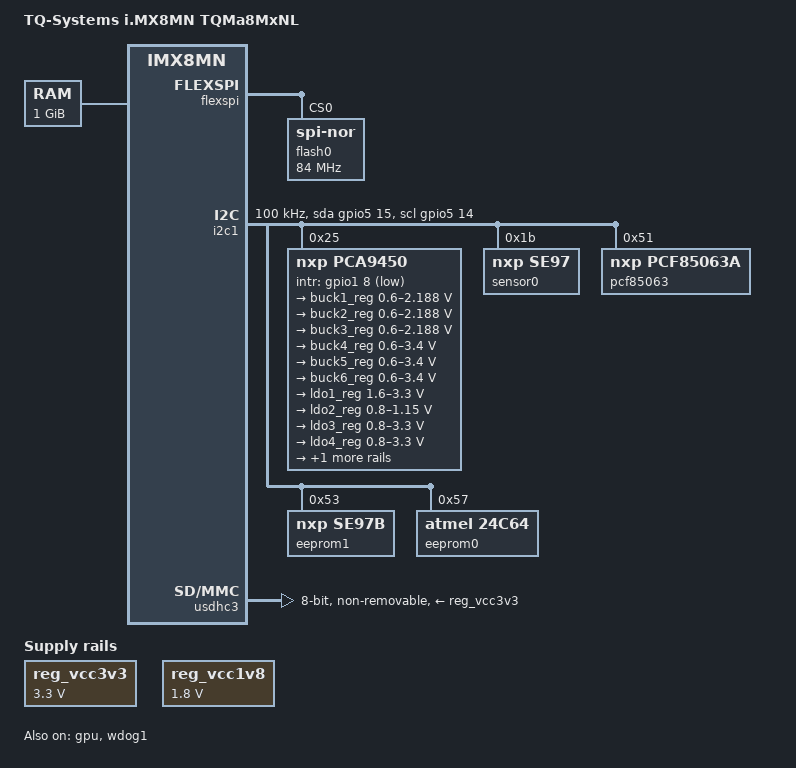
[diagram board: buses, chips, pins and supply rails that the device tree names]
// SPDX-License-Identifier: (GPL-2.0-or-later OR MIT)
/*
 * Copyright 2020-2021 TQ-Systems GmbH
 */

/ {
	model = "TQ-Systems i.MX8MN TQMa8MxNL";
	compatible = "tq,imx8mn-tqma8mxnl", "fsl,imx8mn";

	chosen {
	};

	memory@40000000 {
		device_type = "memory";
		/*  our minimum RAM config will be 1024 MiB */
		reg = <0x00000000 0x40000000 0 0x40000000>;
	};

	reg_vcc3v3: regulator-vcc3v3 {
		compatible = "regulator-fixed";
		regulator-name = "TQMA8MXNL_VCC3V3";
		regulator-min-microvolt = <3300000>;
		regulator-max-microvolt = <3300000>;
		regulator-always-on;
	};

	/* e-MMC IO, needed for HS modes */
	reg_vcc1v8: regulator-vcc1v8 {
		compatible = "regulator-fixed";
		regulator-name = "TQMA8MXNL_VCC1V8";
		regulator-min-microvolt = <1800000>;
		regulator-max-microvolt = <1800000>;
		regulator-always-on;
	};

	reserved-memory {
		#address-cells = <2>;
		#size-cells = <2>;
		ranges;

		/* global autoconfigured region for contiguous allocations */
		linux,cma {
			compatible = "shared-dma-pool";
			reusable;
			/* 640 MiB */
			size = <0 0x28000000>;
			/*  1024 - 128 MiB, our minimum RAM config will be 1024 MiB */
			alloc-ranges = <0 0x40000000 0 0x78000000>;
			linux,cma-default;
		};
	};
};

&A53_0 {
	cpu-supply = <&buck2_reg>;
};

&A53_1 {
	cpu-supply = <&buck2_reg>;
};

&A53_2 {
	cpu-supply = <&buck2_reg>;
};

&A53_3 {
	cpu-supply = <&buck2_reg>;
};

&gpu {
	status = "okay";
};

/*
 * TODO:
 * improve SPI clock
 */
&flexspi {
	pinctrl-names = "default";
	pinctrl-0 = <&pinctrl_flexspi>;
/* TODO: */
/*	fsl,qspi-no-dtr-modes; */
	status = "okay";

	flash0: flash@0 {
		reg = <0>;
		#address-cells = <1>;
		#size-cells = <1>;
		compatible = "jedec,spi-nor";
		spi-max-frequency = <84000000>;
		spi-tx-bus-width = <4>;
		spi-rx-bus-width = <4>;
		/* TODO: not used in spi-nor / fsl-qspi but in fsl-flexspi */
/*		spi-nor,ddr-quad-read-dummy = <8>; */
		spi-nor,ddr-quad-read-dummy = <6>;
		/* used for macronix flash only */
		macronix,dsr = <0x3>;
	};
};

&iomuxc {
	pinctrl_flexspi: flexspigrp {
		fsl,pins = <
			MX8MN_IOMUXC_NAND_ALE_QSPI_A_SCLK	0x84
			MX8MN_IOMUXC_NAND_CE0_B_QSPI_A_SS0_B	0x84
			MX8MN_IOMUXC_NAND_DATA00_QSPI_A_DATA0	0x84
			MX8MN_IOMUXC_NAND_DATA01_QSPI_A_DATA1	0x84
			MX8MN_IOMUXC_NAND_DATA02_QSPI_A_DATA2	0x84
			MX8MN_IOMUXC_NAND_DATA03_QSPI_A_DATA3	0x84
		>;
	};

	pinctrl_i2c1: i2c1grp {
		fsl,pins = <
			MX8MN_IOMUXC_I2C1_SCL_I2C1_SCL		0x40000090
			MX8MN_IOMUXC_I2C1_SDA_I2C1_SDA		0x40000090
		>;
	};

	pinctrl_i2c1_gpio: i2c1gpiogrp {
		fsl,pins = <
			MX8MN_IOMUXC_I2C1_SCL_GPIO5_IO14	0x40000004
			MX8MN_IOMUXC_I2C1_SDA_GPIO5_IO15	0x40000004
		>;
	};
	pinctrl_pmic: pmicgrp {
		fsl,pins = <
			MX8MN_IOMUXC_GPIO1_IO08_GPIO1_IO8	0x84
		>;
	};

	pinctrl_usdhc3: usdhc3grp {
		fsl,pins = <
			MX8MN_IOMUXC_NAND_WE_B_USDHC3_CLK		0x1d4
			MX8MN_IOMUXC_NAND_WP_B_USDHC3_CMD		0x1d4
			MX8MN_IOMUXC_NAND_DATA04_USDHC3_DATA0		0x1d4
			MX8MN_IOMUXC_NAND_DATA05_USDHC3_DATA1		0x1d4
			MX8MN_IOMUXC_NAND_DATA06_USDHC3_DATA2		0x1d4
			MX8MN_IOMUXC_NAND_DATA07_USDHC3_DATA3		0x1d4
			MX8MN_IOMUXC_NAND_RE_B_USDHC3_DATA4		0x1d4
			MX8MN_IOMUXC_NAND_CE2_B_USDHC3_DATA5		0x1d4
			MX8MN_IOMUXC_NAND_CE3_B_USDHC3_DATA6		0x1d4
			MX8MN_IOMUXC_NAND_CLE_USDHC3_DATA7		0x1d4
			MX8MN_IOMUXC_NAND_CE1_B_USDHC3_STROBE		0x84
			MX8MN_IOMUXC_NAND_READY_B_USDHC3_RESET_B	0x84
		>;
	};

	pinctrl_usdhc3_100mhz: usdhc3grp100mhz {
		fsl,pins = <
			MX8MN_IOMUXC_NAND_WE_B_USDHC3_CLK		0x1d2
			MX8MN_IOMUXC_NAND_WP_B_USDHC3_CMD		0x1d2
			MX8MN_IOMUXC_NAND_DATA04_USDHC3_DATA0		0x1d2
			MX8MN_IOMUXC_NAND_DATA05_USDHC3_DATA1		0x1d2
			MX8MN_IOMUXC_NAND_DATA06_USDHC3_DATA2		0x1d2
			MX8MN_IOMUXC_NAND_DATA07_USDHC3_DATA3		0x1d2
			MX8MN_IOMUXC_NAND_RE_B_USDHC3_DATA4		0x1d2
			MX8MN_IOMUXC_NAND_CE2_B_USDHC3_DATA5		0x1d2
			MX8MN_IOMUXC_NAND_CE3_B_USDHC3_DATA6		0x1d2
			MX8MN_IOMUXC_NAND_CLE_USDHC3_DATA7		0x1d2
			MX8MN_IOMUXC_NAND_CE1_B_USDHC3_STROBE		0x84
			MX8MN_IOMUXC_NAND_READY_B_USDHC3_RESET_B	0x84
		>;
	};

	pinctrl_usdhc3_200mhz: usdhc3grp200mhz {
		fsl,pins = <
			MX8MN_IOMUXC_NAND_WE_B_USDHC3_CLK		0x1d6
			MX8MN_IOMUXC_NAND_WP_B_USDHC3_CMD		0x1d6
			MX8MN_IOMUXC_NAND_DATA04_USDHC3_DATA0		0x1d6
			MX8MN_IOMUXC_NAND_DATA05_USDHC3_DATA1		0x1d6
			MX8MN_IOMUXC_NAND_DATA06_USDHC3_DATA2		0x1d6
			MX8MN_IOMUXC_NAND_DATA07_USDHC3_DATA3		0x1d6
			MX8MN_IOMUXC_NAND_RE_B_USDHC3_DATA4		0x1d6
			MX8MN_IOMUXC_NAND_CE2_B_USDHC3_DATA5		0x1d6
			MX8MN_IOMUXC_NAND_CE3_B_USDHC3_DATA6		0x1d6
			MX8MN_IOMUXC_NAND_CLE_USDHC3_DATA7		0x1d6
			MX8MN_IOMUXC_NAND_CE1_B_USDHC3_STROBE		0x84
			MX8MN_IOMUXC_NAND_READY_B_USDHC3_RESET_B	0x84
		>;
	};

	pinctrl_wdog: wdoggrp {
		fsl,pins = <
			MX8MN_IOMUXC_GPIO1_IO02_WDOG1_WDOG_B	0xc6
		>;
	};
};

&i2c1 {
	clock-frequency = <100000>;
	pinctrl-names = "default", "gpio";
	pinctrl-0 = <&pinctrl_i2c1>;
	pinctrl-1 = <&pinctrl_i2c1_gpio>;
	scl-gpios = <&gpio5 14 GPIO_ACTIVE_HIGH>;
	sda-gpios = <&gpio5 15 GPIO_ACTIVE_HIGH>;
	status = "okay";

	pca9450: pmic@25 {
		compatible = "nxp,pca9450";
		reg = <0x25>;

		/* PMIC PCA9450 PMIC_nINT GPIO1_IO08 */
		pinctrl-0 = <&pinctrl_pmic>;
		gpio_intr = <&gpio1 8 GPIO_ACTIVE_LOW>;

		regulators {
			#address-cells = <1>;
			#size-cells = <0>;

			pca9450,pmic-buck2-uses-i2c-dvs;
			/* Run/Standby voltage */
			pca9450,pmic-buck2-dvs-voltage = <950000>, <850000>;

			/* V_0V85_SOC */
			buck1_reg: regulator@0 {
				reg = <0>;
				regulator-compatible = "buck1";
				regulator-min-microvolt = <600000>;
				regulator-max-microvolt = <2187500>;
				regulator-boot-on;
				regulator-always-on;
				regulator-ramp-delay = <3125>;
			};

			/* VDD_ARM */
			buck2_reg: regulator@1 {
				reg = <1>;
				regulator-compatible = "buck2";
				regulator-min-microvolt = <600000>;
				regulator-max-microvolt = <2187500>;
				regulator-boot-on;
				regulator-always-on;
				regulator-ramp-delay = <3125>;
			};

			/* V_0V85_GPU */
			buck3_reg: regulator@2 {
				reg = <2>;
				regulator-compatible = "buck3";
				regulator-min-microvolt = <600000>;
				regulator-max-microvolt = <2187500>;
				regulator-boot-on;
				regulator-always-on;
			};

			/* VCC3V3 -> VMMC,  */
			buck4_reg: regulator@3 {
				reg = <3>;
				regulator-compatible = "buck4";
				regulator-min-microvolt = <600000>;
				regulator-max-microvolt = <3400000>;
				regulator-boot-on;
				regulator-always-on;
			};

			/* V_1V8 -> VQMMC, SPI-NOR, ... must not be changed */
			buck5_reg: regulator@4 {
				reg = <4>;
				regulator-compatible = "buck5";
				regulator-min-microvolt = <600000>;
				regulator-max-microvolt = <3400000>;
				regulator-boot-on;
				regulator-always-on;
			};

			/* V_1V1 -> RAM, ... */
			buck6_reg: regulator@5 {
				reg = <5>;
				regulator-compatible = "buck6";
				regulator-min-microvolt = <600000>;
				regulator-max-microvolt = <3400000>;
				regulator-boot-on;
				regulator-always-on;
			};

			/* V_1V8_SNVS */
			ldo1_reg: regulator@6 {
				reg = <6>;
				regulator-compatible = "ldo1";
				regulator-min-microvolt = <1600000>;
				regulator-max-microvolt = <3300000>;
				regulator-boot-on;
				regulator-always-on;
			};

			/* V_0V8_SNVS */
			ldo2_reg: regulator@7 {
				reg = <7>;
				regulator-compatible = "ldo2";
				regulator-min-microvolt = <800000>;
				regulator-max-microvolt = <1150000>;
				regulator-boot-on;
				regulator-always-on;
			};

			/* V_1V8_ANA */
			ldo3_reg: regulator@8 {
				reg = <8>;
				regulator-compatible = "ldo3";
				regulator-min-microvolt = <800000>;
				regulator-max-microvolt = <3300000>;
				regulator-boot-on;
				regulator-always-on;
			};

			/* V_0V9_MIPI */
			ldo4_reg: regulator@9 {
				reg = <9>;
				regulator-compatible = "ldo4";
				regulator-min-microvolt = <800000>;
				regulator-max-microvolt = <3300000>;
				regulator-boot-on;
				regulator-always-on;
			};

			/* VCC SD IO - switched using SD2 VSELECT */
			ldo5_reg: regulator@10 {
				reg = <10>;
				regulator-compatible = "ldo5";
				regulator-min-microvolt = <1800000>;
				regulator-max-microvolt = <3300000>;
			};
		};
	};

	/*
	 * NXP SE97BTP with temperature sensor + eeprom
	 */
	sensor0: temperature-sensor-eeprom@1b {
		compatible = "nxp,se97", "jedec,jc-42.4-temp";
		reg = <0x1b>;
	};

	pcf85063: rtc@51 {
		compatible = "nxp,pcf85063a";
		reg = <0x51>;
		quartz-load-femtofarads = <7000>;
	};

	eeprom1: eeprom@53 {
		compatible = "nxp,se97b", "atmel,24c02";
		reg = <0x53>;
		pagesize = <16>;
	};

	eeprom0: eeprom@57 {
		compatible = "atmel,24c64";
		reg = <0x57>;
		pagesize = <32>;
	};
};

&rpmsg{
	status = "disabled";
};

&usdhc3 {
	pinctrl-names = "default", "state_100mhz", "state_200mhz";
	pinctrl-0 = <&pinctrl_usdhc3>;
	pinctrl-1 = <&pinctrl_usdhc3_100mhz>;
	pinctrl-2 = <&pinctrl_usdhc3_200mhz>;
	bus-width = <8>;
	non-removable;
	no-sd;
	no-sdio;
	vmmc-supply = <&reg_vcc3v3>;
	vqmmc-supply = <&reg_vcc1v8>;
	status = "okay";
};

&wdog1 {
	pinctrl-names = "default";
	pinctrl-0 = <&pinctrl_wdog>;
	fsl,ext-reset-output;
	status = "okay";
};
